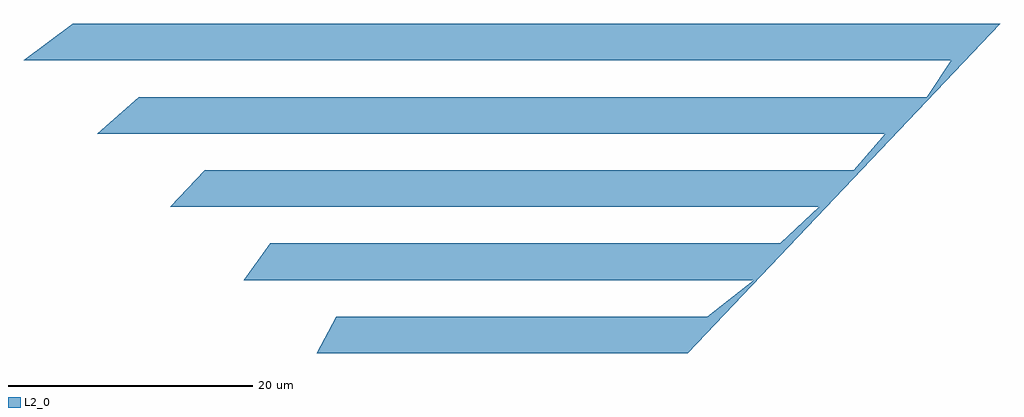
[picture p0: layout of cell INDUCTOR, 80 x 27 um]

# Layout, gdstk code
import gdstk
lib = gdstk.Library(unit=1e-6, precision=1e-09)
def P(c, l, *ps):  # polygons
    for p in ps: c.add(gdstk.Polygon(p, *l))
L2_0 = (2, 0)

inductor = lib.new_cell('INDUCTOR')
P(inductor, L2_0, [(0,40),(-36,40),(-40,37),(0,37)],
  [(-30.6,34),(-34,31),(0,31),(0,34)],
  [(-25.2,28),(-28,25),(0,25),(0,28)],
  [(-19.8,22),(-22,19),(0,19),(0,22)],
  [(-14.4,16),(-16,13),(0,13),(0,16)],
  [(40,40),(0,40),(0,37),(36,37),(34,34),(0,34),(0,31),(30.6,31),(28,28),(0,28),(0,25),(25.2,25),(22,22),(0,22),(0,19),(19.8,19),(16,16),(0,16),(0,13),(14.4,13)])

lib.write_gds('INDUCTOR.gds')
